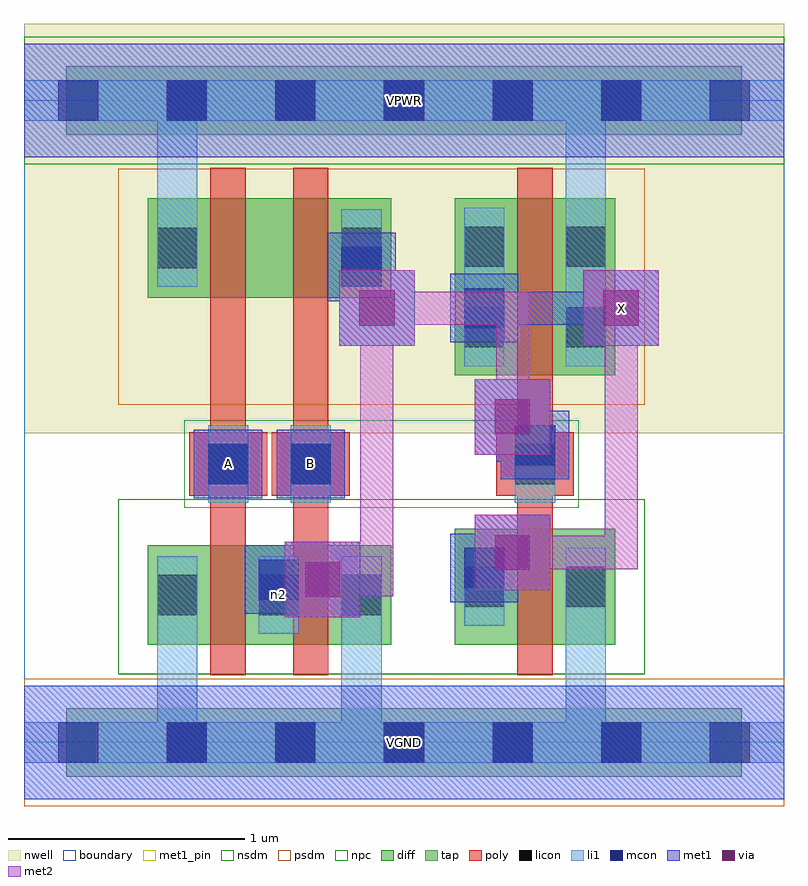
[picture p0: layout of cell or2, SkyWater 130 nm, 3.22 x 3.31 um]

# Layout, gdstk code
import gdstk
lib = gdstk.Library(unit=1e-6, precision=1e-09)
def R(c, l, rs):  # rectangles x0, y0, x1, y1
    for r in rs: c.add(gdstk.rectangle(r[:2], r[2:], *l))
def A(c, l, x, y, w, h, nx, ny, dx, dy):  # array of equal rectangles
    R(c, l, [(x+i*dx, y+j*dy, x+i*dx+w, y+j*dy+h) for i in range(nx) for j in range(ny)])
nwell = (64, 20)
diff = (65, 20)
tap = (65, 44)
poly = (66, 20)
licon = (66, 44)
li1 = (67, 20)
mcon = (67, 44)
met1_pin = (68, 16)
met1 = (68, 20)
via = (68, 44)
met2 = (69, 20)
nsdm = (93, 44)
psdm = (94, 20)
npc = (95, 20)
boundary = (235, 4)

or2 = lib.new_cell('or2')
R(or2, nwell, [(0,1.31,3.22,3.045)])
R(or2, diff, [(0.525,0.415,1.555,0.835), (1.825,0.415,2.505,0.905), (1.825,1.555,2.505,2.305), (0.525,1.885,1.555,2.305)])
R(or2, tap, [(0.18,-0.145,3.04,0.145), (0.18,2.575,3.04,2.865)])
R(or2, poly, [(0.79,0.285,0.94,2.435), (1.14,0.285,1.29,2.435), (2.09,0.285,2.24,2.435), (0.7,1.045,1.03,1.315), (1.05,1.045,1.38,1.315), (2,1.045,2.33,1.315)])
A(or2, licon, 0.605, -0.085, 0.17, 0.17, 5, 2, 0.46, 2.72)
R(or2, licon, [(0.565,0.54,0.735,0.71), (0.995,0.54,1.165,0.71), (1.345,0.54,1.515,0.71), (1.865,0.575,2.035,0.745), (2.295,0.575,2.465,0.745), (0.78,1.095,0.95,1.265), (1.13,1.095,1.3,1.265), (2.08,1.095,2.25,1.265), (1.865,1.675,2.035,1.845), (2.295,1.675,2.465,1.845), (0.565,2.01,0.735,2.18), (1.345,2.01,1.515,2.18), (1.865,2.015,2.035,2.185), (2.295,2.015,2.465,2.185)])
R(or2, li1, [(0,-0.085,3.22,0.085), (0.565,-0.085,0.735,0.79), (1.345,-0.085,1.515,0.79), (2.295,-0.085,2.465,0.825), (0.565,0.46,0.735,0.79), (0.995,0.46,1.165,0.79), (1.345,0.46,1.515,0.79), (1.865,0.495,2.035,0.825), (2.295,0.495,2.465,0.825), (0.78,1.015,0.95,1.345), (1.13,1.015,1.3,1.345), (2.08,1.015,2.25,1.345), (1.865,1.595,2.035,2.265), (2.295,1.595,2.465,2.265), (2.295,1.595,2.465,2.805), (0.565,1.93,0.735,2.26), (0.565,1.93,0.735,2.805), (1.345,1.93,1.515,2.26), (0,2.635,3.22,2.805)])
A(or2, mcon, 0.145, -0.085, 0.17, 0.17, 7, 2, 0.46, 2.72)
R(or2, mcon, [(0.995,0.605,1.165,0.775), (1.865,0.655,2.035,0.825), (0.78,1.095,0.95,1.265), (1.13,1.095,1.3,1.265), (2.08,1.175,2.25,1.345), (1.865,1.755,2.035,1.925), (1.345,1.93,1.515,2.1)])
R(or2, met1_pin, [(0,-0.24,3.22,0.24), (0.72,1.035,1.01,1.325), (1.07,1.035,1.36,1.325), (2.37,1.68,2.69,2), (0,2.48,3.22,2.96)])
R(or2, met1, [(0,-0.24,3.22,0.24), (1.105,0.53,1.425,0.85), (0.935,0.545,1.225,0.835), (1.805,0.595,2.095,0.885), (1.01,0.62,1.335,0.76), (1.91,0.645,2.23,0.965), (1.88,0.67,2.14,0.81), (2,0.67,2.14,0.875), (0.72,1.035,1.01,1.325), (1.07,1.035,1.36,1.325), (2.02,1.115,2.31,1.405), (2,1.19,2.235,1.33), (2,1.19,2.14,1.45), (1.91,1.22,2.23,1.54), (1.335,1.68,1.655,2), (2.37,1.68,2.69,2), (1.805,1.695,2.095,1.985), (1.425,1.77,1.565,2.085), (1.88,1.77,2.14,1.91), (2,1.77,2.6,1.91), (1.285,1.87,1.575,2.16), (1.36,1.945,1.565,2.085), (0,2.48,3.22,2.96)])
R(or2, via, [(1.19,0.615,1.34,0.765), (1.995,0.73,2.145,0.88), (1.995,1.305,2.145,1.455), (1.42,1.765,1.57,1.915), (2.455,1.765,2.605,1.915)])
R(or2, met2, [(1.105,0.53,1.425,0.85), (1.195,0.62,1.565,0.76), (1.425,0.62,1.565,1.91), (1.91,0.645,2.23,0.965), (2,0.735,2.6,0.875), (2.46,0.735,2.6,1.91), (1.91,1.22,2.23,1.54), (2,1.31,2.14,1.91), (1.335,1.68,1.655,2), (2.37,1.68,2.69,2), (1.425,1.77,2.14,1.91)])
R(or2, nsdm, [(0.4,0.29,2.63,1.03), (0,2.45,3.22,2.99)])
R(or2, psdm, [(0,-0.27,3.22,0.27), (0.4,1.43,2.63,2.43)])
R(or2, npc, [(0.68,0.995,2.35,1.365)])
R(or2, boundary, [(0,0,3.22,2.72)])
or2.add(gdstk.Label('n2', (1.08,0.625), layer=67, texttype=5))
or2.add(gdstk.Label('A', (0.865,1.18), layer=68, texttype=5))
or2.add(gdstk.Label('B', (1.215,1.18), layer=68, texttype=5))
or2.add(gdstk.Label('X', (2.53,1.84), layer=68, texttype=5))
or2.add(gdstk.Label('VPWR', (1.61,2.72), layer=68, texttype=5))
or2.add(gdstk.Label('VGND', (1.61,0), layer=68, texttype=5))
or2.add(gdstk.Label('A', (0.865,1.18), layer=68, texttype=16))
or2.add(gdstk.Label('B', (1.215,1.18), layer=68, texttype=16))
or2.add(gdstk.Label('X', (2.53,1.84), layer=68, texttype=16))
or2.add(gdstk.Label('VPWR', (1.61,2.72), layer=68, texttype=16))
or2.add(gdstk.Label('VGND', (1.61,0), layer=68, texttype=16))

lib.write_gds('or2.gds')
